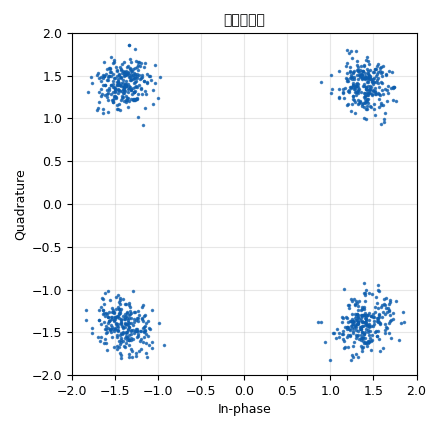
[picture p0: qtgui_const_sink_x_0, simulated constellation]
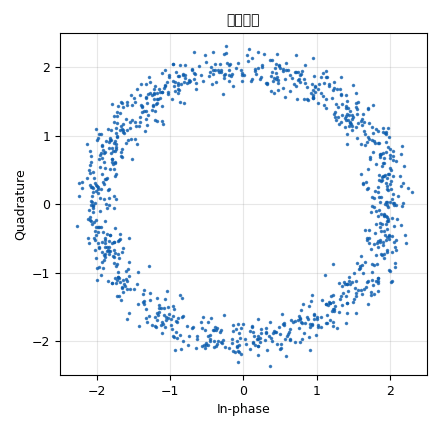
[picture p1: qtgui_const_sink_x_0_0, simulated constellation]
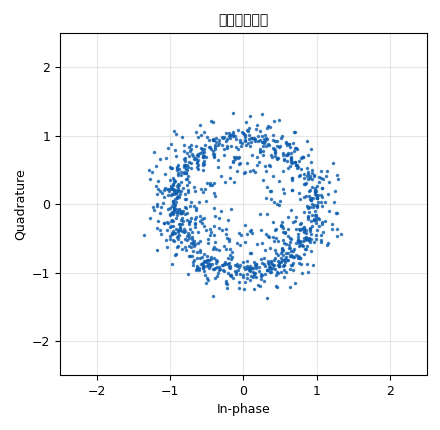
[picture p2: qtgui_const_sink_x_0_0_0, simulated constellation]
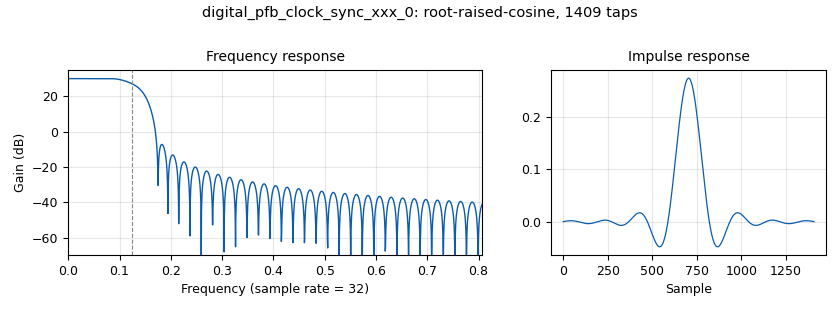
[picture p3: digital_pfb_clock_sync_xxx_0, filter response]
options:
  parameters:
    author: Barry Duggan
    category: Custom
    generate_options: qt_gui
    id: qpsk_stage5
    output_language: python
    title: qpsk_stage5
  states: {}

blocks:
- name: excess_bw
  id: variable
  parameters:
    value: '0.35'
  states: {}
- name: freq_offset
  id: variable_qtgui_range
  parameters:
    comment: 0,4,1,2
    gui_hint: 0,4,1,2
    label: 'Channel: Frequency Offset'
    start: '-0.1'
    step: '0.001'
    stop: '0.1'
    value: '0.025'
  states: {}
- name: nfilts
  id: variable
  parameters:
    value: '32'
  states: {}
- name: noise_volt
  id: variable_qtgui_range
  parameters:
    comment: 0,0,1,2
    gui_hint: 0,0,1,2
    label: 'Channel: Noise Voltage'
    start: '0'
    step: '0.01'
    stop: '1'
    value: '0.2'
  states: {}
- name: phase_bw
  id: variable
  parameters:
    value: '0.0628'
  states: {}
- name: qpsk
  id: variable_constellation_rect
  parameters:
    const_points: '[0.707+0.707j, -0.707+0.707j, -0.707-0.707j, 0.707-0.707j]'
    imag_sect: '2'
    real_sect: '2'
    rot_sym: '4'
    sym_map: '[0, 1, 2, 3]'
    w_imag_sect: '1'
    w_real_sect: '1'
  states: {}
- name: rrc_taps
  id: variable
  parameters:
    value: firdes.root_raised_cosine(nfilts, nfilts, 1.0/float(sps), 0.35, 11*sps*nfilts)
  states: {}
- name: samp_rate
  id: variable
  parameters:
    value: '32000'
  states: {}
- name: sps
  id: variable
  parameters:
    value: '4'
  states: {}
- name: time_offset
  id: variable_qtgui_range
  parameters:
    comment: 0,2,1,2
    gui_hint: 0,2,1,2
    label: 'Channel: Timing Offset'
    start: '0.999'
    step: '0.0001'
    stop: '1.001'
    value: '1.0005'
  states: {}
- name: variable_adaptive_algorithm_0
  id: variable_adaptive_algorithm
  parameters:
    cons: qpsk
    modulus: '4'
    step_size: '.0001'
    type: cma
  states: {}
- name: analog_random_source_x_0
  id: analog_random_source_x
  parameters:
    max: '256'
    min: '0'
    num_samps: '10000'
    repeat: 'True'
    type: byte
  states: {}
- name: blocks_throttle2_0
  id: blocks_throttle2
  parameters:
    samples_per_second: samp_rate
    type: complex
  states: {}
- name: channels_channel_model_0
  id: channels_channel_model
  parameters:
    comment: Epsilon is the time offset
    epsilon: time_offset
    freq_offset: freq_offset
    noise_voltage: noise_volt
    seed: '0'
    taps: '1'
  states: {}
- name: digital_constellation_modulator_0
  id: digital_constellation_modulator
  parameters:
    constellation: qpsk
    differential: 'True'
    excess_bw: excess_bw
    samples_per_symbol: sps
  states: {}
- name: digital_costas_loop_cc_0
  id: digital_costas_loop_cc
  parameters:
    comment: 减小频偏影响
    order: '4'
    w: phase_bw
  states: {}
- name: digital_linear_equalizer_0
  id: digital_linear_equalizer
  parameters:
    alg: variable_adaptive_algorithm_0
    comment: |-
      线性均衡器：对复杂样本流执行线性均衡
      减小一般噪声影响
    num_taps: '15'
    sps: '2'
  states: {}
- name: digital_pfb_clock_sync_xxx_0
  id: digital_pfb_clock_sync_xxx
  parameters:
    comment: 减小 time_offset 影响
    filter_size: nfilts
    init_phase: nfilts/2
    loop_bw: phase_bw
    max_dev: '1.5'
    osps: '2'
    sps: sps
    taps: rrc_taps
    type: ccf
  states: {}
- name: note_0
  id: note
  parameters:
    comment: |-
      Noise Voltage (R)：作为电压的  AWGN 噪声水平 (需要外部计算以满足所需的 SNR).
      Frequency Offset (R)：归一化频率偏移，0表示没偏移，0.25 表示采样时间的 1/4
      Epsilon (R)：采样定时偏移用于模拟发送器和接收器采样时钟之间的不同速率。1.0 没有区别
      Taps (R)：FIR 滤波器的抽头用于模拟多路径延迟分布。默认值为 1+0j，表示单个抽头，因此不存在多路径
      Seed：噪声源的随机数生成器种子
  states: {}
- name: qtgui_const_sink_x_0
  id: qtgui_const_sink_x
  parameters:
    comment: 1,4,1,2
    gui_hint: 1,4,1,2
    name: 科斯塔斯环
    size: '1024'
    type: complex
  states: {}
- name: qtgui_const_sink_x_0_0
  id: qtgui_const_sink_x
  parameters:
    comment: 1,2,1,2
    gui_hint: 1,2,1,2
    name: 线性均衡
    size: '1024'
    type: complex
    xmax: '2.5'
    xmin: '-2.5'
    ymax: '2.5'
    ymin: '-2.5'
  states: {}
- name: qtgui_const_sink_x_0_0_0
  id: qtgui_const_sink_x
  parameters:
    comment: 1,0,1,2
    gui_hint: 1,0,1,2
    name: 多相时钟同步
    size: '1024'
    type: complex
    xmax: '2.5'
    xmin: '-2.5'
    ymax: '2.5'
    ymin: '-2.5'
  states: {}
- name: virtual_sink_0
  id: virtual_sink
  parameters:
    stream_id: r1
  states: {}
- name: virtual_source_0
  id: virtual_source
  parameters:
    stream_id: r1
  states: {}

connections:
- [analog_random_source_x_0, '0', digital_constellation_modulator_0, '0']
- [blocks_throttle2_0, '0', channels_channel_model_0, '0']
- [channels_channel_model_0, '0', digital_pfb_clock_sync_xxx_0, '0']
- [digital_constellation_modulator_0, '0', blocks_throttle2_0, '0']
- [digital_costas_loop_cc_0, '0', qtgui_const_sink_x_0, '0']
- [digital_linear_equalizer_0, '0', qtgui_const_sink_x_0_0, '0']
- [digital_linear_equalizer_0, '0', virtual_sink_0, '0']
- [digital_pfb_clock_sync_xxx_0, '0', digital_linear_equalizer_0, '0']
- [digital_pfb_clock_sync_xxx_0, '0', qtgui_const_sink_x_0_0_0, '0']
- [virtual_source_0, '0', digital_costas_loop_cc_0, '0']

metadata:
  file_format: 1
  grc_version: 3.10.9.2
